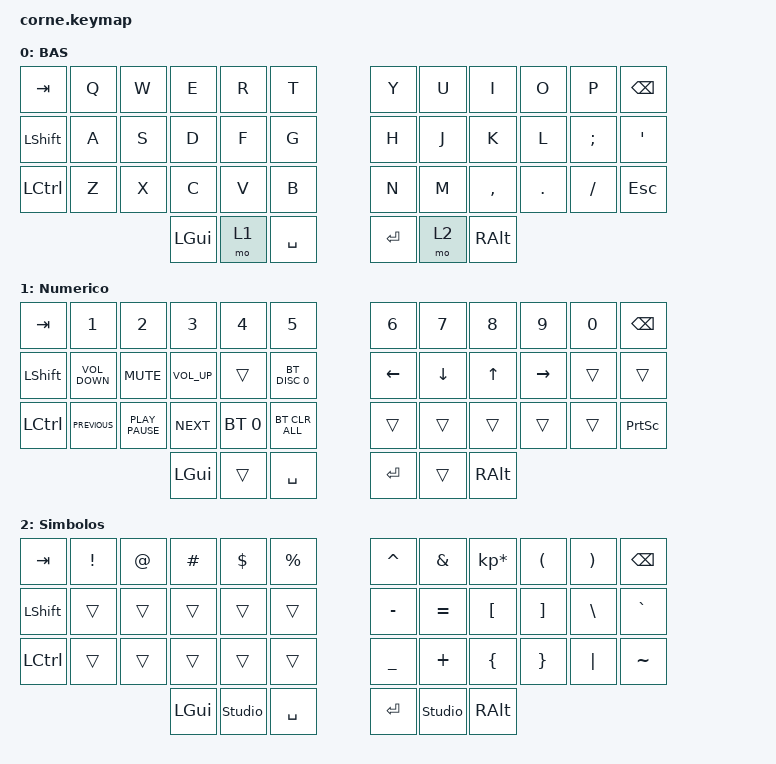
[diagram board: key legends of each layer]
/*
 * Copyright (c) 2020 The ZMK Contributors
 *
 * SPDX-License-Identifier: MIT
 */

#include <dt-bindings/led/led.h>
#include <dt-bindings/zmk/reset.h>
#include <behaviors.dtsi>
#include <dt-bindings/zmk/bt.h>
#include <dt-bindings/zmk/keys.h>

&led_strip { chain-length = <27>; };

/ {
    keymap {
        compatible = "zmk,keymap";

        default_layer {
            display-name = "BAS";

            // -----------------------------------------------------------------------------------------
            // |  TAB |  Q  |  W  |  E  |  R  |  T  |   |  Y  |  U   |  I  |  O  |  P  | BKSP |
            // | CTRL |  A  |  S  |  D  |  F  |  G  |   |  H  |  J   |  K  |  L  |  ;  |  '   |
            // | SHFT |  Z  |  X  |  C  |  V  |  B  |   |  N  |  M   |  ,  |  .  |  /  | ESC  |
            //                    | GUI | LWR | SPC |   | ENT | RSE  | ALT |

            bindings = <
&kp TAB         &kp Q  &kp W  &kp E     &kp R  &kp T        &kp Y    &kp U  &kp I      &kp O    &kp P     &kp BSPC
&kp LEFT_SHIFT  &kp A  &kp S  &kp D     &kp F  &kp G        &kp H    &kp J  &kp K      &kp L    &kp SEMI  &kp SQT
&kp LCTRL       &kp Z  &kp X  &kp C     &kp V  &kp B        &kp N    &kp M  &kp COMMA  &kp DOT  &kp FSLH  &kp ESC
                              &kp LGUI  &mo 1  &kp SPACE    &kp RET  &mo 2  &kp RALT
            >;
        };

        lower_layer {
            display-name = "Numerico";

            // -----------------------------------------------------------------------------------------
            // |  TAB |  1  |  2  |  3  |  4  |  5  |   |  6  |  7  |  8  |  9  |  0  | BKSP |
            // | BTCLR| BT1 | BT2 | BT3 | BT4 | BT5 |   | LFT | DWN |  UP | RGT |     |      |
            // | SHFT |     |     |     |     |     |   |     |     |     |     |     |      |
            //                    | GUI |     | SPC |   | ENT |     | ALT |

            bindings = <
&kp TAB         &kp N1             &kp N2            &kp N3           &kp N4        &kp N5            &kp N6    &kp N7    &kp N8    &kp N9     &kp N0  &kp BSPC
&kp LEFT_SHIFT  &kp C_VOLUME_DOWN  &kp K_MUTE        &kp C_VOLUME_UP  &trans        &bt BT_DISC 0     &kp LEFT  &kp DOWN  &kp UP    &kp RIGHT  &trans  &trans
&kp LCTRL       &kp K_PREVIOUS     &kp K_PLAY_PAUSE  &kp K_NEXT       &bt BT_SEL 0  &bt BT_CLR_ALL    &trans    &trans    &trans    &trans     &trans  &kp PRINTSCREEN
                                                     &kp LGUI         &trans        &kp SPACE         &kp RET   &trans    &kp RALT
            >;
        };

        raise_layer {
            display-name = "Simbolos";

            // -----------------------------------------------------------------------------------------
            // |  TAB |  !  |  @  |  #  |  $  |  %  |   |  ^  |  &  |  *  |  (  |  )  | BKSP |
            // | CTRL |     |     |     |     |     |   |  -  |  =  |  [  |  ]  |  \  |  `   |
            // | SHFT |     |     |     |     |     |   |  _  |  +  |  {  |  }  | "|" |  ~   |
            //                    | GUI |     | SPC |   | ENT |     | ALT |

            bindings = <
&kp TAB         &kp EXCL  &kp AT  &kp HASH  &kp DLLR        &kp PRCNT    &kp CARET  &kp AMPS        &kp KP_MULTIPLY  &kp LPAR  &kp RPAR  &kp BSPC
&kp LEFT_SHIFT  &trans    &trans  &trans    &trans          &trans       &kp MINUS  &kp EQUAL       &kp LBKT         &kp RBKT  &kp BSLH  &kp GRAVE
&kp LCTRL       &trans    &trans  &trans    &trans          &trans       &kp UNDER  &kp PLUS        &kp LBRC         &kp RBRC  &kp PIPE  &kp TILDE
                                  &kp LGUI  &studio_unlock  &kp SPACE    &kp RET    &studio_unlock  &kp RALT
            >;
        };
    };
};
